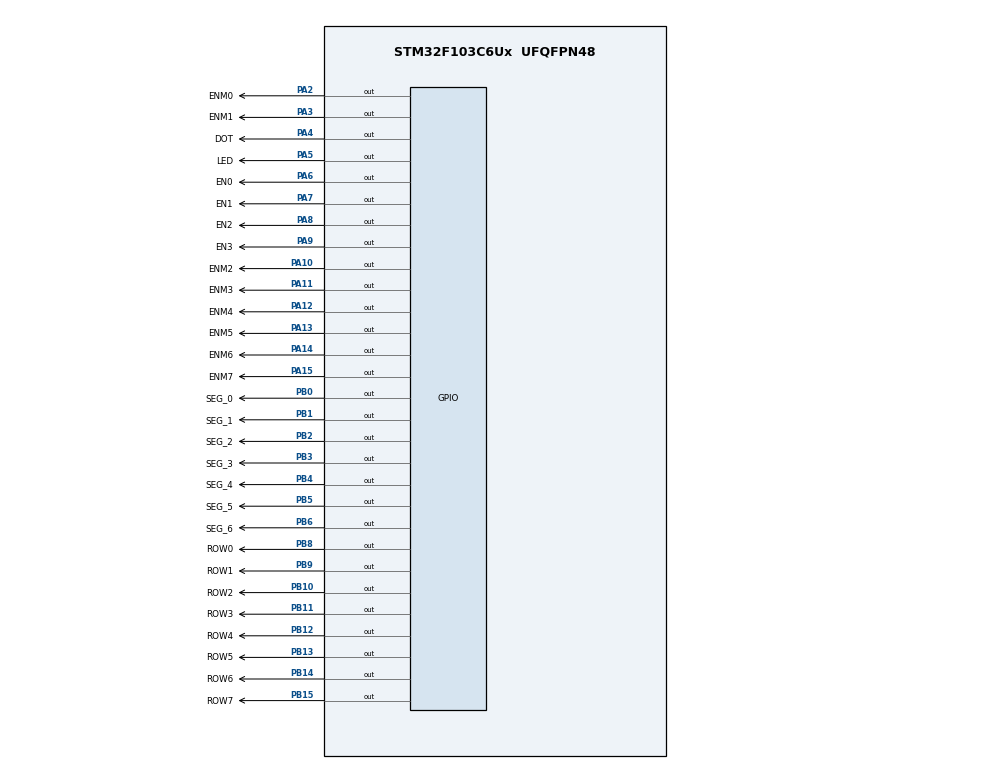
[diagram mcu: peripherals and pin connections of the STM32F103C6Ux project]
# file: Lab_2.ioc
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Mcu.Family=STM32F1
Mcu.Name=STM32F103C6Ux
Mcu.Package=UFQFPN48
NVIC.PriorityGroup=NVIC_PRIORITYGROUP_4
NVIC.TIM2_IRQn=true\:0\:0\:false\:false\:true\:true\:true
PA10.GPIO_Label=ENM2
PA10.Signal=GPIO_Output
PA11.GPIO_Label=ENM3
PA11.Signal=GPIO_Output
PA12.GPIO_Label=ENM4
PA12.Signal=GPIO_Output
PA13.GPIO_Label=ENM5
PA13.Signal=GPIO_Output
PA14.GPIO_Label=ENM6
PA14.Signal=GPIO_Output
PA15.GPIO_Label=ENM7
PA15.Signal=GPIO_Output
PA2.GPIO_Label=ENM0
PA2.Signal=GPIO_Output
PA3.GPIO_Label=ENM1
PA3.Signal=GPIO_Output
PA4.GPIO_Label=DOT
PA4.Signal=GPIO_Output
PA5.GPIO_Label=LED
PA5.Signal=GPIO_Output
PA6.GPIO_Label=EN0
PA6.Signal=GPIO_Output
PA7.GPIO_Label=EN1
PA7.Signal=GPIO_Output
PA8.GPIO_Label=EN2
PA8.Signal=GPIO_Output
PA9.GPIO_Label=EN3
PA9.Signal=GPIO_Output
PB0.GPIO_Label=SEG_0
PB0.Signal=GPIO_Output
PB1.GPIO_Label=SEG_1
PB1.Signal=GPIO_Output
PB10.GPIO_Label=ROW2
PB10.Signal=GPIO_Output
PB11.GPIO_Label=ROW3
PB11.Signal=GPIO_Output
PB12.GPIO_Label=ROW4
PB12.Signal=GPIO_Output
PB13.GPIO_Label=ROW5
PB13.Signal=GPIO_Output
PB14.GPIO_Label=ROW6
PB14.Signal=GPIO_Output
PB15.GPIO_Label=ROW7
PB15.Signal=GPIO_Output
PB2.GPIO_Label=SEG_2
PB2.Signal=GPIO_Output
PB3.GPIO_Label=SEG_3
PB3.Signal=GPIO_Output
PB4.GPIO_Label=SEG_4
PB4.Signal=GPIO_Output
PB5.GPIO_Label=SEG_5
PB5.Signal=GPIO_Output
PB6.GPIO_Label=SEG_6
PB6.Signal=GPIO_Output
PB8.GPIO_Label=ROW0
PB8.Signal=GPIO_Output
PB9.GPIO_Label=ROW1
PB9.Signal=GPIO_Output
ProjectManager.HeapSize=0x200
ProjectManager.StackSize=0x400
ProjectManager.TargetToolchain=STM32CubeIDE
RCC.APB1Freq_Value=8000000
RCC.APB2Freq_Value=8000000
TIM2.Period=9
TIM2.Prescaler=7999
VP_SYS_VS_ND.Mode=No_Debug
VP_TIM2_VS_ClockSourceINT.Mode=Internal
board=custom

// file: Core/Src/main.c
/* USER CODE BEGIN Header */
/**
  ******************************************************************************
  * @file           : main.c
  * @brief          : Main program body
  ******************************************************************************
  * @attention
  *
  * <h2><center>&copy; Copyright (c) 2022 STMicroelectronics.
  * All rights reserved.</center></h2>
  *
  * This software component is licensed by ST under BSD 3-Clause license,
  * the "License"; You may not use this file except in compliance with the
  * License. You may obtain a copy of the License at:
  *                        opensource.org/licenses/BSD-3-Clause
  *
  ******************************************************************************
  */
/* USER CODE END Header */
#include "main.h"

/* USER CODE BEGIN Includes */
#include "software_timer.h"
/* USER CODE END Includes */

TIM_HandleTypeDef htim2;

void SystemClock_Config(void);
static void MX_GPIO_Init(void);
static void MX_TIM2_Init(void);
/* USER CODE BEGIN PFP */
void updateClockBuffer(int hour, int minute);
void display7SEG(int num);
void update7SEG(int index);

void selectCOL(int col);
void clearCOL(int col);
void displayDOT(uint8_t num, int row);
void clearAllPins();
void clearDOT(uint8_t num, int row);
void updateLEDMatrix (int row);
void updateMatrixBuffer(uint8_t matrix[8]);
/* USER CODE END PFP */

/* USER CODE BEGIN 0 */
int led_buffer[4] = {1,1,2,3};
int index_led = 0;

const int MAX_LED_MATRIX = 8;
int index_led_matrix = 0;
uint8_t matrix_buffer[8] = {0x18,0x24,0x42,0x42,0x7E,0x42,0x42,0x42};	// hex display 'A'
/* USER CODE END 0 */

int main(void)
{

  /* MCU Configuration--------------------------------------------------------*/

  /* Reset of all peripherals, Initializes the Flash interface and the Systick. */
  HAL_Init();

  /* Configure the system clock */
  SystemClock_Config();

  /* Initialize all configured peripherals */
  MX_GPIO_Init();
  MX_TIM2_Init();
  /* USER CODE BEGIN 2 */

  HAL_TIM_Base_Start_IT (& htim2 );
  /* USER CODE END 2 */
  setTimer3(2);
  int first = 1;
  /* Infinite loop */
  while (1)
  {
	  if(first == 1){	// set led 8x8 matrix off
		  clearAllPins();
		  first = 0;
	  }
		  updateLEDMatrix(index_led_matrix);	// call func updateLEDMatrix
		  if(timer_flag3==1){
			  clearDOT(matrix_buffer[index_led_matrix],index_led_matrix);	// set row off and col disable when a loop
			  ++index_led_matrix;
			  if(index_led_matrix>8){		//set index = 0 when index > 8
				  index_led_matrix = 0;
			  }
			  setTimer3(2);
		  }
  }
}

void SystemClock_Config(void)
{
  RCC_OscInitTypeDef RCC_OscInitStruct = {0};
  RCC_ClkInitTypeDef RCC_ClkInitStruct = {0};

  /** Initializes the RCC Oscillators according to the specified parameters
  * in the RCC_OscInitTypeDef structure.
  */
  RCC_OscInitStruct.OscillatorType = RCC_OSCILLATORTYPE_HSI;
  RCC_OscInitStruct.HSIState = RCC_HSI_ON;
  RCC_OscInitStruct.HSICalibrationValue = RCC_HSICALIBRATION_DEFAULT;
  RCC_OscInitStruct.PLL.PLLState = RCC_PLL_NONE;
  if (HAL_RCC_OscConfig(&RCC_OscInitStruct) != HAL_OK)
  {
    Error_Handler();
  }
  /** Initializes the CPU, AHB and APB buses clocks
  */
  RCC_ClkInitStruct.ClockType = RCC_CLOCKTYPE_HCLK|RCC_CLOCKTYPE_SYSCLK
                              |RCC_CLOCKTYPE_PCLK1|RCC_CLOCKTYPE_PCLK2;
  RCC_ClkInitStruct.SYSCLKSource = RCC_SYSCLKSOURCE_HSI;
  RCC_ClkInitStruct.AHBCLKDivider = RCC_SYSCLK_DIV1;
  RCC_ClkInitStruct.APB1CLKDivider = RCC_HCLK_DIV1;
  RCC_ClkInitStruct.APB2CLKDivider = RCC_HCLK_DIV1;

  if (HAL_RCC_ClockConfig(&RCC_ClkInitStruct, FLASH_LATENCY_0) != HAL_OK)
  {
    Error_Handler();
  }
}

static void MX_TIM2_Init(void)
{

  TIM_ClockConfigTypeDef sClockSourceConfig = {0};
  TIM_MasterConfigTypeDef sMasterConfig = {0};

  htim2.Instance = TIM2;
  htim2.Init.Prescaler = 7999;
  htim2.Init.CounterMode = TIM_COUNTERMODE_UP;
  htim2.Init.Period = 9;
  htim2.Init.ClockDivision = TIM_CLOCKDIVISION_DIV1;
  htim2.Init.AutoReloadPreload = TIM_AUTORELOAD_PRELOAD_DISABLE;
  if (HAL_TIM_Base_Init(&htim2) != HAL_OK)
  {
    Error_Handler();
  }
  sClockSourceConfig.ClockSource = TIM_CLOCKSOURCE_INTERNAL;
  if (HAL_TIM_ConfigClockSource(&htim2, &sClockSourceConfig) != HAL_OK)
  {
    Error_Handler();
  }
  sMasterConfig.MasterOutputTrigger = TIM_TRGO_RESET;
  sMasterConfig.MasterSlaveMode = TIM_MASTERSLAVEMODE_DISABLE;
  if (HAL_TIMEx_MasterConfigSynchronization(&htim2, &sMasterConfig) != HAL_OK)
  {
    Error_Handler();
  }

}

static void MX_GPIO_Init(void)
{
  GPIO_InitTypeDef GPIO_InitStruct = {0};

  /* GPIO Ports Clock Enable */
  __HAL_RCC_GPIOA_CLK_ENABLE();
  __HAL_RCC_GPIOB_CLK_ENABLE();

  /*Configure GPIO pin Output Level */
  HAL_GPIO_WritePin(GPIOA, ENM0_Pin|ENM1_Pin|DOT_Pin|LED_Pin
                          |EN0_Pin|EN1_Pin|EN2_Pin|EN3_Pin
                          |ENM2_Pin|ENM3_Pin|ENM4_Pin|ENM5_Pin
                          |ENM6_Pin|ENM7_Pin, GPIO_PIN_RESET);

  /*Configure GPIO pin Output Level */
  HAL_GPIO_WritePin(GPIOB, SEG_0_Pin|SEG_1_Pin|SEG_2_Pin|ROW2_Pin
                          |ROW3_Pin|ROW4_Pin|ROW5_Pin|ROW6_Pin
                          |ROW7_Pin|SEG_3_Pin|SEG_4_Pin|SEG_5_Pin
                          |SEG_6_Pin|ROW0_Pin|ROW1_Pin, GPIO_PIN_RESET);

  /*Configure GPIO pins : ENM0_Pin ENM1_Pin DOT_Pin LED_Pin
                           EN0_Pin EN1_Pin EN2_Pin EN3_Pin
                           ENM2_Pin ENM3_Pin ENM4_Pin ENM5_Pin
                           ENM6_Pin ENM7_Pin */
  GPIO_InitStruct.Pin = ENM0_Pin|ENM1_Pin|DOT_Pin|LED_Pin
                          |EN0_Pin|EN1_Pin|EN2_Pin|EN3_Pin
                          |ENM2_Pin|ENM3_Pin|ENM4_Pin|ENM5_Pin
                          |ENM6_Pin|ENM7_Pin;
  GPIO_InitStruct.Mode = GPIO_MODE_OUTPUT_PP;
  GPIO_InitStruct.Pull = GPIO_NOPULL;
  GPIO_InitStruct.Speed = GPIO_SPEED_FREQ_LOW;
  HAL_GPIO_Init(GPIOA, &GPIO_InitStruct);

  /*Configure GPIO pins : SEG_0_Pin SEG_1_Pin SEG_2_Pin ROW2_Pin
                           ROW3_Pin ROW4_Pin ROW5_Pin ROW6_Pin
                           ROW7_Pin SEG_3_Pin SEG_4_Pin SEG_5_Pin
                           SEG_6_Pin ROW0_Pin ROW1_Pin */
  GPIO_InitStruct.Pin = SEG_0_Pin|SEG_1_Pin|SEG_2_Pin|ROW2_Pin
                          |ROW3_Pin|ROW4_Pin|ROW5_Pin|ROW6_Pin
                          |ROW7_Pin|SEG_3_Pin|SEG_4_Pin|SEG_5_Pin
                          |SEG_6_Pin|ROW0_Pin|ROW1_Pin;
  GPIO_InitStruct.Mode = GPIO_MODE_OUTPUT_PP;
  GPIO_InitStruct.Pull = GPIO_NOPULL;
  GPIO_InitStruct.Speed = GPIO_SPEED_FREQ_LOW;
  HAL_GPIO_Init(GPIOB, &GPIO_InitStruct);

}

/* USER CODE BEGIN 4 */

//const int MAX_LED = 4;
//int index_led = 0;
//int led_buffer[4] = {5, 6, 7, 8};
void update7SEG(int index){
    switch (index){
        case 0:		//Display the first 7SEG with led_buffer[0]
	  	  	  HAL_GPIO_WritePin(EN0_GPIO_Port, EN0_Pin, RESET);			// set den 7segs thu nhat bat
	  	  	  HAL_GPIO_WritePin(EN1_GPIO_Port, EN1_Pin, SET);			// set den 7set thu hai tat
	  	  	  HAL_GPIO_WritePin(EN2_GPIO_Port, EN2_Pin, SET);			// set den 7segs thu ba tat
	  	  	  HAL_GPIO_WritePin(EN3_GPIO_Port, EN3_Pin, SET);			// set den 7set thu tu tat
        	display7SEG(led_buffer[0]);  	// Hien thi led_buffer[0]
            break;
        case 1:		//Display the second 7SEG with led_buffer[1]
	  	  	  HAL_GPIO_WritePin(EN0_GPIO_Port, EN0_Pin, SET);			// set den 7segs thu nhat tat
	        	display7SEG(led_buffer[1]);  	// Hien thi led_buffer[1]
	  	  	  HAL_GPIO_WritePin(EN1_GPIO_Port, EN1_Pin, RESET);			// set den 7set thu hai bat
            break;
        case 2:     //Display the third 7SEG with led_buffer[2]
	  	  	  HAL_GPIO_WritePin(EN1_GPIO_Port, EN1_Pin, SET);			// set den 7set thu hai tat
	        	display7SEG(led_buffer[2]);  	// Hien thi led_buffer[2]
	  	  	  HAL_GPIO_WritePin(EN2_GPIO_Port, EN2_Pin, RESET);			// set den 7segs thu ba bat
            break;
        case 3:		//Display the forth 7SEG with led_buffer[3]
	  	  	  HAL_GPIO_WritePin(EN2_GPIO_Port, EN2_Pin, SET);			// set den 7segs thu ba tat
	        	display7SEG(led_buffer[3]);  	// Hien thi led_buffer[3]
	  	  	  HAL_GPIO_WritePin(EN3_GPIO_Port, EN3_Pin, RESET);			// set den 7set thu tu bat
            break;
        default:
            break;
    }
}
int counter1 = 0; 	// set bien dem 25 lan tuong duong voi 250ms cho 7segs
//int counter2 = 0;	// set bien dem 100 lan tuong duong voi 1000ms cho DOT
void HAL_TIM_PeriodElapsedCallback ( TIM_HandleTypeDef * htim ){
	timerRun();

}

void display7SEG(int num){ 		// ham hien thi den 7seg
 	  if(num == 0){	// set number 0
 		  HAL_GPIO_WritePin(SEG_0_GPIO_Port, SEG_0_Pin, RESET);
 		  HAL_GPIO_WritePin(SEG_1_GPIO_Port, SEG_1_Pin, RESET);
 		  HAL_GPIO_WritePin(SEG_2_GPIO_Port, SEG_2_Pin, RESET);
 		  HAL_GPIO_WritePin(SEG_3_GPIO_Port, SEG_3_Pin, RESET);
 		  HAL_GPIO_WritePin(SEG_4_GPIO_Port, SEG_4_Pin, RESET);
 		  HAL_GPIO_WritePin(SEG_5_GPIO_Port, SEG_5_Pin, RESET);
 		  HAL_GPIO_WritePin(SEG_6_GPIO_Port, SEG_6_Pin, SET);
 	  }
 	  if(num == 1){	// set number 1
 		  HAL_GPIO_WritePin(SEG_0_GPIO_Port, SEG_0_Pin, SET);
 		  HAL_GPIO_WritePin(SEG_1_GPIO_Port, SEG_1_Pin, RESET);
 		  HAL_GPIO_WritePin(SEG_2_GPIO_Port, SEG_2_Pin, RESET);
 		  HAL_GPIO_WritePin(SEG_3_GPIO_Port, SEG_3_Pin, SET);
 		  HAL_GPIO_WritePin(SEG_4_GPIO_Port, SEG_4_Pin, SET);
 		  HAL_GPIO_WritePin(SEG_5_GPIO_Port, SEG_5_Pin, SET);
 		  HAL_GPIO_WritePin(SEG_6_GPIO_Port, SEG_6_Pin, SET);
 	  }
 	  if(num == 2){	// set number 2
 		  HAL_GPIO_WritePin(SEG_0_GPIO_Port, SEG_0_Pin, RESET);
 		  HAL_GPIO_WritePin(SEG_1_GPIO_Port, SEG_1_Pin, RESET);
 		  HAL_GPIO_WritePin(SEG_2_GPIO_Port, SEG_2_Pin, SET);
 		  HAL_GPIO_WritePin(SEG_3_GPIO_Port, SEG_3_Pin, RESET);
 		  HAL_GPIO_WritePin(SEG_4_GPIO_Port, SEG_4_Pin, RESET);
 		  HAL_GPIO_WritePin(SEG_5_GPIO_Port, SEG_5_Pin, SET);
 		  HAL_GPIO_WritePin(SEG_6_GPIO_Port, SEG_6_Pin, RESET);
 	  }
 	  if(num == 3){	// set number 3
 		  HAL_GPIO_WritePin(SEG_0_GPIO_Port, SEG_0_Pin, RESET);
 		  HAL_GPIO_WritePin(SEG_1_GPIO_Port, SEG_1_Pin, RESET);
 		  HAL_GPIO_WritePin(SEG_2_GPIO_Port, SEG_2_Pin, RESET);
 		  HAL_GPIO_WritePin(SEG_3_GPIO_Port, SEG_3_Pin, RESET);
 		  HAL_GPIO_WritePin(SEG_4_GPIO_Port, SEG_4_Pin, SET);
 		  HAL_GPIO_WritePin(SEG_5_GPIO_Port, SEG_5_Pin, SET);
 		  HAL_GPIO_WritePin(SEG_6_GPIO_Port, SEG_6_Pin, RESET);
 	  }
 	  if(num == 4){	// set number 4
 		  HAL_GPIO_WritePin(SEG_0_GPIO_Port, SEG_0_Pin, SET);
 		  HAL_GPIO_WritePin(SEG_1_GPIO_Port, SEG_1_Pin, RESET);
 		  HAL_GPIO_WritePin(SEG_2_GPIO_Port, SEG_2_Pin, RESET);
 		  HAL_GPIO_WritePin(SEG_3_GPIO_Port, SEG_3_Pin, SET);
 		  HAL_GPIO_WritePin(SEG_4_GPIO_Port, SEG_4_Pin, SET);
 		  HAL_GPIO_WritePin(SEG_5_GPIO_Port, SEG_5_Pin, RESET);
 		  HAL_GPIO_WritePin(SEG_6_GPIO_Port, SEG_6_Pin, RESET);
 	  }
 	  if(num == 5){	// set number 5
 		  HAL_GPIO_WritePin(SEG_0_GPIO_Port, SEG_0_Pin, RESET);
 		  HAL_GPIO_WritePin(SEG_1_GPIO_Port, SEG_1_Pin, SET);
 		  HAL_GPIO_WritePin(SEG_2_GPIO_Port, SEG_2_Pin, RESET);
 		  HAL_GPIO_WritePin(SEG_3_GPIO_Port, SEG_3_Pin, RESET);
 		  HAL_GPIO_WritePin(SEG_4_GPIO_Port, SEG_4_Pin, SET);
 		  HAL_GPIO_WritePin(SEG_5_GPIO_Port, SEG_5_Pin, RESET);
 		  HAL_GPIO_WritePin(SEG_6_GPIO_Port, SEG_6_Pin, RESET);
 	  }
 	  if(num == 6){	// set number 6
 		  HAL_GPIO_WritePin(SEG_0_GPIO_Port, SEG_0_Pin, RESET);
 		  HAL_GPIO_WritePin(SEG_1_GPIO_Port, SEG_1_Pin, SET);
 		  HAL_GPIO_WritePin(SEG_2_GPIO_Port, SEG_2_Pin, RESET);
 		  HAL_GPIO_WritePin(SEG_3_GPIO_Port, SEG_3_Pin, RESET);
 		  HAL_GPIO_WritePin(SEG_4_GPIO_Port, SEG_4_Pin, RESET);
 		  HAL_GPIO_WritePin(SEG_5_GPIO_Port, SEG_5_Pin, RESET);
 		  HAL_GPIO_WritePin(SEG_6_GPIO_Port, SEG_6_Pin, RESET);
 	  }
 	  if(num == 7){	// set number 7
 		  HAL_GPIO_WritePin(SEG_0_GPIO_Port, SEG_0_Pin, RESET);
 		  HAL_GPIO_WritePin(SEG_1_GPIO_Port, SEG_1_Pin, RESET);
 		  HAL_GPIO_WritePin(SEG_2_GPIO_Port, SEG_2_Pin, RESET);
 		  HAL_GPIO_WritePin(SEG_3_GPIO_Port, SEG_3_Pin, SET);
 		  HAL_GPIO_WritePin(SEG_4_GPIO_Port, SEG_4_Pin, SET);
 		  HAL_GPIO_WritePin(SEG_5_GPIO_Port, SEG_5_Pin, SET);
 		  HAL_GPIO_WritePin(SEG_6_GPIO_Port, SEG_6_Pin, SET);
 	  }
 	  if(num == 8){	// set number 8
 		  HAL_GPIO_WritePin(SEG_0_GPIO_Port, SEG_0_Pin, RESET);
 		  HAL_GPIO_WritePin(SEG_1_GPIO_Port, SEG_1_Pin, RESET);
 		  HAL_GPIO_WritePin(SEG_2_GPIO_Port, SEG_2_Pin, RESET);
 		  HAL_GPIO_WritePin(SEG_3_GPIO_Port, SEG_3_Pin, RESET);
 		  HAL_GPIO_WritePin(SEG_4_GPIO_Port, SEG_4_Pin, RESET);
 		  HAL_GPIO_WritePin(SEG_5_GPIO_Port, SEG_5_Pin, RESET);
 		  HAL_GPIO_WritePin(SEG_6_GPIO_Port, SEG_6_Pin, RESET);
 	  }
 	  if(num == 9){	// set number 9
 		  HAL_GPIO_WritePin(SEG_0_GPIO_Port, SEG_0_Pin, RESET);
 		  HAL_GPIO_WritePin(SEG_1_GPIO_Port, SEG_1_Pin, RESET);
 		  HAL_GPIO_WritePin(SEG_2_GPIO_Port, SEG_2_Pin, RESET);
 		  HAL_GPIO_WritePin(SEG_3_GPIO_Port, SEG_3_Pin, RESET);
 		  HAL_GPIO_WritePin(SEG_4_GPIO_Port, SEG_4_Pin, SET);
 		  HAL_GPIO_WritePin(SEG_5_GPIO_Port, SEG_5_Pin, RESET);
 		  HAL_GPIO_WritePin(SEG_6_GPIO_Port, SEG_6_Pin, RESET);
 	  }
   }
void updateClockBuffer(int hour , int minute){
	  int h1 = hour / 10;		// lay ra so de hien thi den 7seg thu nhat
	  int h2 = hour % 10;		// lay ra so de hien thi den 7seg thu hai
	  int m1 = minute / 10;		// lay ra so de hien thi den 7seg thu ba
	  int m2 = minute % 10;		// lay ra so de hien thi den 7seg thu tu
	  led_buffer[0] = h1;		// truyen so vao phan tu led_buffer[0]
	  led_buffer[1] = h2;		// truyen so vao phan tu led_buffer[1]
	  led_buffer[2] = m1; 		// truyen so vao phan tu led_buffer[2]
	  led_buffer[3] = m2;		// truyen so vao phan tu led_buffer[3]
}

void selectCOL(int col){	//  func select col enable
	switch(col){
	case 0:				// col0 enable
		 HAL_GPIO_WritePin(ENM0_GPIO_Port, ENM0_Pin, GPIO_PIN_RESET);
			break;
	case 1:				// col1 enable
		 HAL_GPIO_WritePin(ENM1_GPIO_Port, ENM1_Pin, GPIO_PIN_RESET);
			break;
	case 2:				// col2 enable
		 HAL_GPIO_WritePin(ENM2_GPIO_Port, ENM2_Pin, GPIO_PIN_RESET);
			break;
	case 3:				// col3 enable
		 HAL_GPIO_WritePin(ENM3_GPIO_Port, ENM3_Pin, GPIO_PIN_RESET);
			break;
	case 4:				// col4 enable
		 HAL_GPIO_WritePin(ENM4_GPIO_Port, ENM4_Pin, GPIO_PIN_RESET);
			break;
	case 5:				// col5 enable
		 HAL_GPIO_WritePin(ENM5_GPIO_Port, ENM5_Pin, GPIO_PIN_RESET);
			break;
	case 6:				// col6 enable
		 HAL_GPIO_WritePin(ENM6_GPIO_Port, ENM6_Pin, GPIO_PIN_RESET);
			break;
	case 7:				// col7 enable
		 HAL_GPIO_WritePin(ENM7_GPIO_Port, ENM7_Pin, GPIO_PIN_RESET);
			break;
	default: break;
	}
}
void clearCOL(int col){		// func select col disable
	switch(col){
		case 0:			// col0 disable
			 HAL_GPIO_WritePin(ENM0_GPIO_Port, ENM0_Pin, GPIO_PIN_SET);
				break;
		case 1:			// col1 disable
			 HAL_GPIO_WritePin(ENM1_GPIO_Port, ENM1_Pin, GPIO_PIN_SET);
				break;
		case 2:			// col2 disable
			 HAL_GPIO_WritePin(ENM2_GPIO_Port, ENM2_Pin, GPIO_PIN_SET);
				break;
		case 3:			// col3 disable
			 HAL_GPIO_WritePin(ENM3_GPIO_Port, ENM3_Pin, GPIO_PIN_SET);
				break;
		case 4:			// col4 disable
			 HAL_GPIO_WritePin(ENM4_GPIO_Port, ENM4_Pin, GPIO_PIN_SET);
				break;
		case 5:			// col5 disable
			 HAL_GPIO_WritePin(ENM5_GPIO_Port, ENM5_Pin, GPIO_PIN_SET);
				break;
		case 6:			// col6 disable
			 HAL_GPIO_WritePin(ENM6_GPIO_Port, ENM6_Pin, GPIO_PIN_SET);
				break;
		case 7:			// col7 disable
			 HAL_GPIO_WritePin(ENM7_GPIO_Port, ENM7_Pin, GPIO_PIN_SET);
				break;
		default: break;
		}
}
void displayDOT(uint8_t num, int row){	// read hex and output in matrix_buffer[]
	switch(row){
	case 0:		// row0 on and col i enable
			for(int i = 0; i < 8; i++){
				if(num & 0x80){
					selectCOL(i);	// select col i
				}
				 num = num<<1;		// dich bit
			}
			HAL_GPIO_WritePin(ROW0_GPIO_Port, ROW0_Pin, GPIO_PIN_RESET);
			break;
	case 1:		// row1 on and col i enable
		for(int i = 0; i < 8; i++){
			if(num & 0x80){
				selectCOL(i);	// select col i
			}
			 num = num<<1;		// dich bit
		}
		HAL_GPIO_WritePin(ROW1_GPIO_Port, ROW1_Pin, GPIO_PIN_RESET);
			break;
	case 2:		// row2 on and col i enable
		for(int i = 0; i<8; i++){
			if(num&0x80){
				selectCOL(i);	// select col i
			}
			 num = num<<1;		// dich bit
		}
		HAL_GPIO_WritePin(ROW2_GPIO_Port, ROW2_Pin, GPIO_PIN_RESET);
			break;
	case 3:		// row3 on and col i enable
		for(int i = 0; i<8; i++){
			if(num&0x80){
				selectCOL(i);	// select col i
			}
			 num = num<<1;		// dich bit
		}
		HAL_GPIO_WritePin(ROW3_GPIO_Port, ROW3_Pin, GPIO_PIN_RESET);
			break;
	case 4:		// row4 on and col i enable
		for(int i = 0; i<8; i++){
			if(num&0x80){
				selectCOL(i);	// select col i
			}
			 num = num<<1;		// dich bit
		}
		HAL_GPIO_WritePin(ROW4_GPIO_Port, ROW4_Pin, GPIO_PIN_RESET);
			break;
	case 5:		// row5 on and col i enable
		for(int i = 0; i<8; i++){
			if(num&0x80){
				selectCOL(i);	// select col i
			}
			 num = num<<1;		// dich bit
		}
		HAL_GPIO_WritePin(ROW5_GPIO_Port, ROW5_Pin, GPIO_PIN_RESET);
			break;
	case 6:		// row6 on and col i enable
		for(int i = 0; i<8; i++){
			if(num&0x80){
				selectCOL(i);	// select col i
			}
			 num = num<<1;		// dich bit
		}
		HAL_GPIO_WritePin(ROW6_GPIO_Port, ROW6_Pin, GPIO_PIN_RESET);
			break;
	case 7:		// row7 on and col i enable
		for(int i = 0; i<8; i++){
			if(num&0x80){
				selectCOL(i);	// select col i
			}
			 num = num<<1;		// dich bit
		}
		HAL_GPIO_WritePin(ROW7_GPIO_Port, ROW7_Pin, GPIO_PIN_RESET);
			break;
	default: break;
	}
}
void clearAllPins(){	// all row off and col disable
	  HAL_GPIO_WritePin(ROW0_GPIO_Port, ROW0_Pin, GPIO_PIN_SET);
	  HAL_GPIO_WritePin(ROW1_GPIO_Port, ROW1_Pin, GPIO_PIN_SET);
	  HAL_GPIO_WritePin(ROW2_GPIO_Port, ROW2_Pin, GPIO_PIN_SET);
	  HAL_GPIO_WritePin(ROW3_GPIO_Port, ROW3_Pin, GPIO_PIN_SET);
	  HAL_GPIO_WritePin(ROW4_GPIO_Port, ROW4_Pin, GPIO_PIN_SET);
	  HAL_GPIO_WritePin(ROW5_GPIO_Port, ROW5_Pin, GPIO_PIN_SET);
	  HAL_GPIO_WritePin(ROW6_GPIO_Port, ROW6_Pin, GPIO_PIN_SET);
	  HAL_GPIO_WritePin(ROW7_GPIO_Port, ROW7_Pin, GPIO_PIN_SET);

	  HAL_GPIO_WritePin(ENM0_GPIO_Port, ENM0_Pin, GPIO_PIN_SET);
	  HAL_GPIO_WritePin(ENM1_GPIO_Port, ENM1_Pin, GPIO_PIN_SET);
	  HAL_GPIO_WritePin(ENM2_GPIO_Port, ENM2_Pin, GPIO_PIN_SET);
	  HAL_GPIO_WritePin(ENM3_GPIO_Port, ENM3_Pin, GPIO_PIN_SET);
	  HAL_GPIO_WritePin(ENM4_GPIO_Port, ENM4_Pin, GPIO_PIN_SET);
	  HAL_GPIO_WritePin(ENM5_GPIO_Port, ENM5_Pin, GPIO_PIN_SET);
	  HAL_GPIO_WritePin(ENM6_GPIO_Port, ENM6_Pin, GPIO_PIN_SET);
	  HAL_GPIO_WritePin(ENM7_GPIO_Port, ENM7_Pin, GPIO_PIN_SET);
}
void clearDOT(uint8_t num, int row){	// like displayDOT but select row off and col disable
	switch(row){
		case 0:
			HAL_GPIO_WritePin(ROW0_GPIO_Port, ROW0_Pin, GPIO_PIN_SET);
				for(int i = 0; i < 8; i++){
					if(num&0x80){
						clearCOL(i);
					}
					 num = num<<1;
				}
				break;
		case 1:
			HAL_GPIO_WritePin(ROW1_GPIO_Port, ROW1_Pin, GPIO_PIN_SET);
			for(int i = 0; i<8; i++){
				if(num&0x80){
					clearCOL(i);
				}
				 num = num<<1;
			}
				break;
		case 2:
			HAL_GPIO_WritePin(ROW2_GPIO_Port, ROW2_Pin, GPIO_PIN_SET);
			for(int i = 0; i<8; i++){
				if(num&0x80){
					clearCOL(i);
				}
				 num = num<<1;
			}
				break;
		case 3:
			HAL_GPIO_WritePin(ROW3_GPIO_Port, ROW3_Pin, GPIO_PIN_SET);
			for(int i = 0; i<8; i++){
				if(num&0x80){
					clearCOL(i);
				}
				 num = num<<1;
			}
				break;
		case 4:
			HAL_GPIO_WritePin(ROW4_GPIO_Port, ROW4_Pin, GPIO_PIN_SET);
			for(int i = 0; i<8; i++){
				if(num&0x80){
					clearCOL(i);
				}
				 num = num<<1;
			}
				break;
		case 5:
			HAL_GPIO_WritePin(ROW5_GPIO_Port, ROW5_Pin, GPIO_PIN_SET);
			for(int i = 0; i<8; i++){
				if(num&0x80){
					clearCOL(i);
				}
				 num = num<<1;
			}
				break;
		case 6:
			HAL_GPIO_WritePin(ROW6_GPIO_Port, ROW6_Pin, GPIO_PIN_SET);
			for(int i = 0; i<8; i++){
				if(num&0x80){
					clearCOL(i);
				}
				 num = num<<1;

			}
				break;
		case 7:
			HAL_GPIO_WritePin(ROW7_GPIO_Port, ROW7_Pin, GPIO_PIN_SET);
			for(int i = 0; i<8; i++){
				if(num&0x80){
					clearCOL(i);
				}
				 num = num<<1;

			}
				break;
		default: break;
		}
}
void updateLEDMatrix (int row) {	// display 'A' in led matrix
	 switch (row) {
		case 0:		// decode hex in matrix_buffer[0] and display row
			displayDOT(matrix_buffer[0],row);
			break ;
		case 1:		// decode hex in matrix_buffer[1] and display row
			 displayDOT(matrix_buffer[1],row);
			 break ;
		case 2:		// decode hex in matrix_buffer[2] and display row
			displayDOT(matrix_buffer[2],row);
			break ;
		case 3:		// decode hex in matrix_buffer[3] and display row
			 displayDOT(matrix_buffer[3],row);
			 break ;
		case 4:		// decode hex in matrix_buffer[4] and display row
			 displayDOT(matrix_buffer[4],row);
			 break ;
		case 5:		// decode hex in matrix_buffer[5] and display row
			 displayDOT(matrix_buffer[5],row);
			 break ;
		case 6:		// decode hex in matrix_buffer[6] and display row
			 displayDOT(matrix_buffer[6],row);
			 break ;
		case 7:		// decode hex in matrix_buffer[7] and display row
			 displayDOT(matrix_buffer[7],row);
			 break ;
		default :
			 break ;
	 }
 }

/* USER CODE END 4 */

void Error_Handler(void)
{
  __disable_irq();
  while (1)
  {
  }
}

/************************ (C) COPYRIGHT STMicroelectronics *****END OF FILE****/
